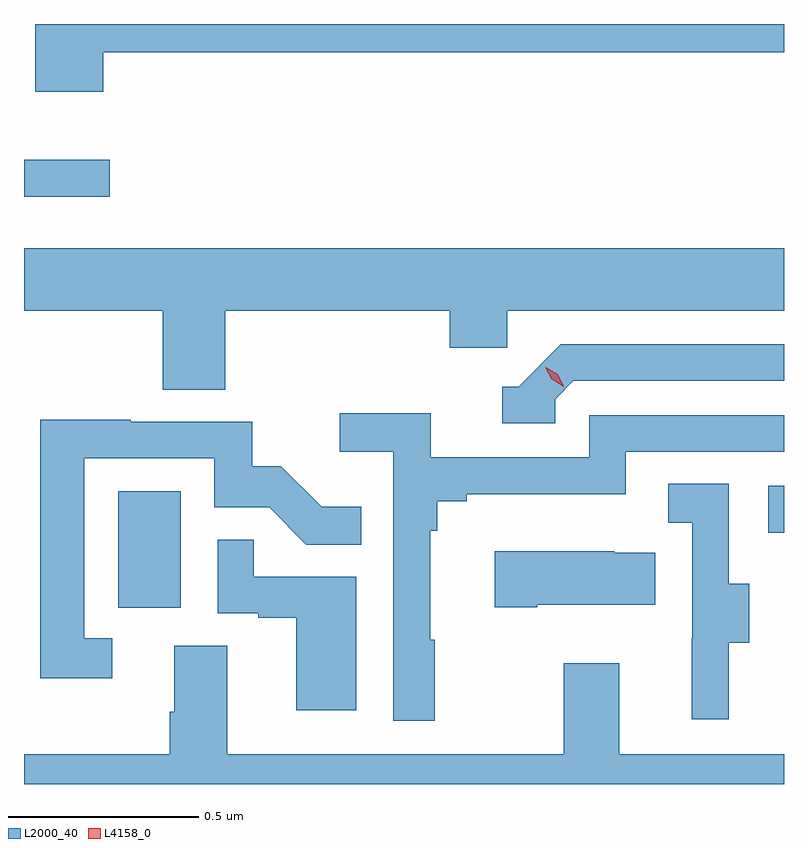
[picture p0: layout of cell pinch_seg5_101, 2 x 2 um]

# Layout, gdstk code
import gdstk
lib = gdstk.Library(unit=1e-6, precision=1e-09)
def R(c, l, rs):  # rectangles x0, y0, x1, y1
    for r in rs: c.add(gdstk.rectangle(r[:2], r[2:], *l))
def P(c, l, *ps):  # polygons
    for p in ps: c.add(gdstk.Polygon(p, *l))
L2000_40 = (2000, 40)
L4158_0 = (4158, 0)

pinch_seg5_101 = lib.new_cell('pinch_seg5_101')
R(pinch_seg5_101, L2000_40, [(1071.746,894.606,1071.91,894.913), (1073.457,894.803,1073.498,894.927), (1071.498,895.688,1071.724,895.785)])
P(pinch_seg5_101, L2000_40, [(1071.706,896.068),(1073.498,896.068),(1073.498,896.142),(1071.527,896.142),(1071.527,895.964),(1071.706,895.964)],
  [(1072.028,895.388),(1072.619,895.388),(1072.619,895.29),(1072.77,895.29),(1072.77,895.388),(1073.498,895.388),(1073.498,895.552),(1071.498,895.552),(1071.498,895.388),(1071.863,895.388),(1071.863,895.18),(1072.028,895.18)],
  [(1072.896,895.155),(1072.944,895.203),(1073.498,895.203),(1073.498,895.299),(1072.911,895.299),(1072.8,895.188),(1072.757,895.188),(1072.757,895.092),(1072.896,895.092)],
  [(1072.579,894.521),(1072.567,894.521),(1072.567,894.809),(1072.586,894.809),(1072.586,894.886),(1072.663,894.886),(1072.663,894.905),(1073.082,894.905),(1073.082,895.017),(1073.498,895.017),(1073.498,895.113),(1072.986,895.113),(1072.986,895.002),(1072.568,895.002),(1072.568,895.118),(1072.329,895.118),(1072.329,895.016),(1072.47,895.016),(1072.47,894.309),(1072.579,894.309)],
  [(1071.73,894.525),(1071.657,894.525),(1071.657,894.999),(1071.999,894.999),(1071.999,894.87),(1072.143,894.87),(1072.241,894.772),(1072.385,894.772),(1072.385,894.871),(1072.281,894.871),(1072.174,894.978),(1072.098,894.978),(1072.098,895.095),(1071.779,895.095),(1071.779,895.1),(1071.541,895.1),(1071.541,894.42),(1071.73,894.42)],
  [(1073.353,894.514),(1073.407,894.514),(1073.407,894.669),(1073.352,894.669),(1073.352,894.932),(1073.193,894.932),(1073.193,894.829),(1073.256,894.829),(1073.256,894.525),(1073.255,894.525),(1073.255,894.312),(1073.353,894.312)],
  [(1072.372,894.687),(1072.103,894.687),(1072.103,894.785),(1072.008,894.785),(1072.008,894.591),(1072.115,894.591),(1072.115,894.579),(1072.214,894.579),(1072.214,894.336),(1072.372,894.336)],
  [(1072.849,894.614),(1073.159,894.614),(1073.159,894.751),(1073.051,894.751),(1073.051,894.754),(1072.737,894.754),(1072.737,894.607),(1072.849,894.607)],
  [(1073.498,894.22),(1073.065,894.22),(1073.065,894.46),(1072.918,894.46),(1072.918,894.22),(1072.033,894.22),(1072.033,894.506),(1071.893,894.506),(1071.893,894.332),(1071.881,894.332),(1071.881,894.22),(1071.498,894.22),(1071.498,894.142),(1073.498,894.142)])
P(pinch_seg5_101, L4158_0, [(1072.918,895.188),(1072.887,895.207),(1072.87,895.239),(1072.87,895.239),(1072.871,895.239),(1072.902,895.22),(1072.919,895.188),(1072.919,895.188)])

lib.write_gds('pinch_seg5_101.gds')
